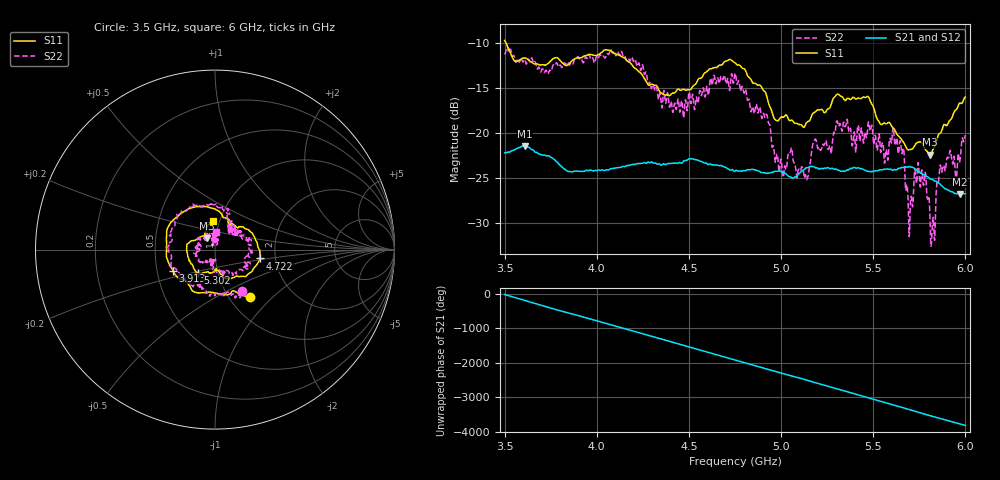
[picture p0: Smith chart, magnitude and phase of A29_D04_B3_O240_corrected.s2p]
! Created with skrf 1.9.0 (http://scikit-rf.org).
# Hz S RI R 50.0
!freq ReS11 ImS11 ReS21 ImS21 ReS12 ImS12 ReS22 ImS22
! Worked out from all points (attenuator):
!   1601 points, 3.5 GHz to 6 GHz, reference 50 ohm
!   highest |S21| = -21.43 dB at 3.609 GHz (marker M1); lowest = -26.8 dB at 5.97 GHz (marker M2)
!   lowest |S11| = -22.4 dB at 5.808 GHz (marker M3), VSWR 1.16, Z = 45.5 + j5.66 ohm
!   |S11| at or under -10 dB: 3.508 GHz to end of sweep
!   |S22| runs from -32.6 to -10.4 dB; largest |S21 - S12| = 0.0011
!   S11 on the Smith chart (normalised r, x): 3.5 GHz: 1.24, -0.73; 3.913 GHz: 0.61, -0.15; 4.722 GHz: 1.66, -0.18; 5.302 GHz: 0.80, -0.22; 6 GHz: 0.93, +0.30
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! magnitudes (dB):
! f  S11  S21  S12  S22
! 3.5 GHz  -9.7  -22.2  -22.2  -11.1
! 3.609 GHz  -11.7  -21.4  -21.4  -11.8
! 3.913 GHz  -11.6  -24.3  -24.2  -11.9
! 3.917 GHz  -11.6  -24.3  -24.2  -11.8
! 4.141 GHz  -11.6  -23.7  -23.7  -11.3
! 4.334 GHz  -15.1  -23.4  -23.4  -16.3
! 4.722 GHz  -11.8  -24.1  -24.0  -15.2
! 4.75 GHz  -12.2  -24.3  -24.2  -13.4
! 4.928 GHz  -16.4  -24.4  -24.4  -18.5
! 5.002 GHz  -18.2  -24.3  -24.3  -23.2
! 5.167 GHz  -18.0  -23.7  -23.7  -21.8
! 5.302 GHz  -15.7  -24.0  -24.0  -18.7
! 5.584 GHz  -18.8  -24.0  -24.0  -21.7
! 5.655 GHz  -20.8  -23.8  -23.8  -22.3
! 5.702 GHz  -21.8  -23.8  -23.7  -27.8
! 5.734 GHz  -21.1  -24.1  -24.0  -25.6
! 5.773 GHz  -21.4  -24.6  -24.5  -25.8
! 5.808 GHz  -22.4  -25.1  -25.0  -29.4
! 5.823 GHz  -21.8  -25.2  -25.1  -29.5
! 5.87 GHz  -19.8  -25.8  -25.8  -24.3
! 5.97 GHz  -16.7  -26.8  -26.7  -23.1
! 6 GHz  -16.0  -26.7  -26.7  -20.2
